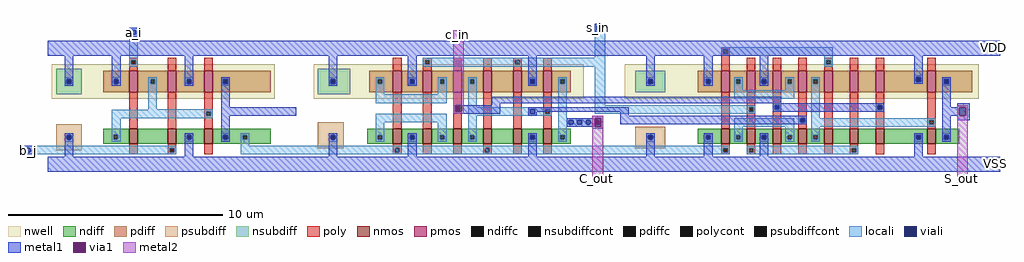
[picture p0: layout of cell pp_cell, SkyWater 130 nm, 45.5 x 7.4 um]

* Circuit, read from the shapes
.subckt pp_cell C_out S_out c_in s_in VDD VSS b_j a_i
XM1 n1 a_i n2 VSS sky130_fd_pr__nfet_01v8 w=0.7 l=0.4
XM2 VSS b_j n1 VSS sky130_fd_pr__nfet_01v8 w=0.7 l=0.4
XM3 carry1_0/A n2 VSS VSS sky130_fd_pr__nfet_01v8 w=0.7 l=0.4
XM4 VSS carry1_0/A n3 VSS sky130_fd_pr__nfet_01v8 w=0.7 l=0.4
XM5 n3 s_in VSS VSS sky130_fd_pr__nfet_01v8 w=0.7 l=0.4
XM6 carry1_0/Cob c_in n3 VSS sky130_fd_pr__nfet_01v8 w=0.7 l=0.4
XM7 n4 carry1_0/A carry1_0/Cob VSS sky130_fd_pr__nfet_01v8 w=0.7 l=0.4
XM8 VSS s_in n4 VSS sky130_fd_pr__nfet_01v8 w=0.7 l=0.4
XM9 C_out carry1_0/Cob VSS VSS sky130_fd_pr__nfet_01v8 w=0.7 l=0.4
XM10 n5 carry1_0/A VSS VSS sky130_fd_pr__nfet_01v8 w=0.7 l=0.4
XM11 VSS s_in n5 VSS sky130_fd_pr__nfet_01v8 w=0.7 l=0.4
XM12 n5 c_in VSS VSS sky130_fd_pr__nfet_01v8 w=0.7 l=0.4
XM13 n6 carry1_0/Cob n5 VSS sky130_fd_pr__nfet_01v8 w=0.7 l=0.4
XM14 n7 carry1_0/A n6 VSS sky130_fd_pr__nfet_01v8 w=0.7 l=0.4
XM15 n8 s_in n7 VSS sky130_fd_pr__nfet_01v8 w=0.7 l=0.4
XM16 VSS c_in n8 VSS sky130_fd_pr__nfet_01v8 w=0.7 l=0.4
XM17 S_out n6 VSS VSS sky130_fd_pr__nfet_01v8 w=0.7 l=0.4
XM18 n2 a_i VDD VDD sky130_fd_pr__pfet_01v8 w=1 l=0.4
XM19 VDD b_j n2 VDD sky130_fd_pr__pfet_01v8 w=1 l=0.4
XM20 carry1_0/A n2 VDD VDD sky130_fd_pr__pfet_01v8 w=1 l=0.4
XM21 VDD carry1_0/A n9 VDD sky130_fd_pr__pfet_01v8 w=1 l=0.4
XM22 n9 s_in VDD VDD sky130_fd_pr__pfet_01v8 w=1 l=0.4
XM23 carry1_0/Cob c_in n9 VDD sky130_fd_pr__pfet_01v8 w=1 l=0.4
XM24 n10 carry1_0/A carry1_0/Cob VDD sky130_fd_pr__pfet_01v8 w=1 l=0.4
XM25 VDD s_in n10 VDD sky130_fd_pr__pfet_01v8 w=1 l=0.4
XM26 C_out carry1_0/Cob VDD VDD sky130_fd_pr__pfet_01v8 w=1 l=0.4
XM27 n11 carry1_0/A VDD VDD sky130_fd_pr__pfet_01v8 w=1 l=0.4
XM28 VDD s_in n11 VDD sky130_fd_pr__pfet_01v8 w=1 l=0.4
XM29 n11 c_in VDD VDD sky130_fd_pr__pfet_01v8 w=1 l=0.4
XM30 n6 carry1_0/Cob n11 VDD sky130_fd_pr__pfet_01v8 w=1 l=0.4
XM31 n12 carry1_0/A n6 VDD sky130_fd_pr__pfet_01v8 w=1 l=0.4
XM32 n13 s_in n12 VDD sky130_fd_pr__pfet_01v8 w=1 l=0.4
XM33 VDD c_in n13 VDD sky130_fd_pr__pfet_01v8 w=1 l=0.4
XM34 S_out n6 VDD VDD sky130_fd_pr__pfet_01v8 w=1 l=0.4
.ends

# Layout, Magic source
magic
tech sky130A
<< ndiffc >>
rect 40 -190 60 -170
<< polycont >>
rect -480 160 -460 180
rect 1030 -60 1050 -40
rect 2400 -60 2420 -40
rect 2640 -110 2660 -90
rect -300 -250 -280 -230
rect 2280 -250 2300 -230
<< locali >>
rect 1680 340 1730 350
rect -490 320 -450 330
rect -490 300 -480 320
rect -460 300 -450 320
rect -490 180 -450 300
rect 1680 320 1690 340
rect 1710 320 1730 340
rect 1680 190 1730 320
rect -490 160 -480 180
rect -460 160 -450 180
rect -490 150 -450 160
rect 1310 150 1730 190
rect 1680 -30 1730 150
rect 1020 -40 1060 -30
rect 1020 -60 1030 -40
rect 1050 -60 1060 -40
rect 1680 -40 2430 -30
rect 1020 -70 1060 -60
rect 1680 -60 2400 -40
rect 2420 -60 2430 -40
rect 1680 -70 2430 -60
rect 2630 -90 2670 -80
rect 2630 -110 2640 -90
rect 2660 -110 2670 -90
rect 2630 -120 2670 -110
rect 30 -170 70 -160
rect 30 -190 40 -170
rect 60 -190 70 -170
rect 30 -220 70 -190
rect -980 -230 -270 -220
rect -980 -250 -970 -230
rect -950 -250 -300 -230
rect -280 -250 -270 -230
rect -980 -260 -270 -250
rect 30 -260 780 -220
rect 1160 -230 2310 -220
rect 1160 -250 2280 -230
rect 2300 -250 2310 -230
rect 1160 -260 2310 -250
<< viali >>
rect -480 300 -460 320
rect 1690 320 1710 340
rect 1030 -60 1050 -40
rect 1380 -70 1400 -50
rect 2640 -110 2660 -90
rect -970 -250 -950 -230
<< metal1 >>
rect 1680 340 1730 350
rect -490 320 -450 330
rect -490 300 -480 320
rect -460 300 -450 320
rect 1680 320 1690 340
rect 1710 320 1730 340
rect 1680 310 1730 320
rect -490 290 -450 300
rect 220 200 400 270
rect 1670 200 1850 270
rect 3170 200 3570 270
rect 1200 -20 2550 10
rect 1200 -30 1240 -20
rect 1020 -60 1030 -30
rect 1060 -60 1240 -30
rect 1020 -70 1240 -60
rect 1370 -50 1840 -40
rect 1370 -70 1380 -50
rect 1400 -60 1840 -50
rect 2510 -60 2550 -20
rect 3370 -40 3430 -20
rect 1400 -70 1410 -60
rect 1370 -80 1410 -70
rect 1800 -80 1840 -60
rect 3370 -80 3380 -40
rect 3410 -80 3430 -40
rect 1800 -90 2670 -80
rect 1800 -110 2640 -90
rect 2660 -110 2670 -90
rect 3370 -100 3430 -80
rect 1800 -120 2670 -110
rect -980 -230 -940 -220
rect -980 -250 -970 -230
rect -950 -250 -940 -230
rect -980 -260 -940 -250
rect 220 -340 400 -270
rect 1670 -340 1850 -270
rect 3320 -340 3570 -270
<< via1 >>
rect 1030 -40 1060 -30
rect 1030 -60 1050 -40
rect 1050 -60 1060 -40
rect 3380 -80 3410 -40
rect 1680 -130 1710 -90
<< metal2 >>
rect 1020 -30 1070 320
rect 1020 -60 1030 -30
rect 1060 -60 1070 -30
rect 1020 -70 1070 -60
rect 3370 -40 3420 -30
rect 3370 -80 3380 -40
rect 3410 -80 3420 -40
rect 1670 -90 1720 -80
rect 1670 -130 1680 -90
rect 1710 -130 1720 -90
rect 1670 -390 1720 -130
rect 3370 -390 3420 -80
use carry1  carry1_0
transform 1 0 -960 0 1 -30
box 1330 -310 2700 300
use pp_and2  pp_and2_0
transform 1 0 -570 0 1 -30
box -300 -310 860 300
use sum_backup  sum_backup_0
transform 1 0 -840 0 1 -30
box 2660 -310 4320 300
<< labels >>
rlabel metal2 1680 -380 1700 -360 1 C_out
port 1 n
rlabel metal2 3380 -380 3400 -360 1 S_out
port 2 n
rlabel metal2 1030 290 1050 310 1 c_in
port 5 n
rlabel viali 1690 320 1710 340 1 s_in
port 6 n
rlabel metal1 3530 230 3550 250 1 VDD
port 7 n
rlabel metal1 3540 -310 3560 -290 1 VSS
port 8 n
rlabel viali -970 -250 -950 -230 1 b_j
port 9 n
rlabel viali -480 300 -460 320 1 a_i
port 10 n
<< end >>

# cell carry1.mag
magic
tech sky130A
<< nwell >>
rect 1330 30 2590 190
<< nmos >>
rect 1700 -180 1740 -110
rect 1840 -180 1880 -110
rect 1980 -180 2020 -110
rect 2120 -180 2160 -110
rect 2260 -180 2300 -110
rect 2400 -180 2440 -110
<< pmos >>
rect 1700 60 1740 160
rect 1840 60 1880 160
rect 1980 60 2020 160
rect 2120 60 2160 160
rect 2260 60 2300 160
rect 2400 60 2440 160
<< ndiff >>
rect 1580 -140 1700 -110
rect 1580 -160 1630 -140
rect 1650 -160 1700 -140
rect 1580 -180 1700 -160
rect 1740 -140 1840 -110
rect 1740 -160 1780 -140
rect 1800 -160 1840 -140
rect 1740 -180 1840 -160
rect 1880 -140 1980 -110
rect 1880 -160 1920 -140
rect 1940 -160 1980 -140
rect 1880 -180 1980 -160
rect 2020 -140 2120 -110
rect 2020 -160 2060 -140
rect 2080 -160 2120 -140
rect 2020 -180 2120 -160
rect 2160 -180 2260 -110
rect 2300 -140 2400 -110
rect 2300 -160 2340 -140
rect 2360 -160 2400 -140
rect 2300 -180 2400 -160
rect 2440 -140 2530 -110
rect 2440 -160 2480 -140
rect 2500 -160 2530 -140
rect 2440 -180 2530 -160
<< pdiff >>
rect 1590 120 1700 160
rect 1590 100 1630 120
rect 1650 100 1700 120
rect 1590 60 1700 100
rect 1740 120 1840 160
rect 1740 100 1780 120
rect 1800 100 1840 120
rect 1740 60 1840 100
rect 1880 120 1980 160
rect 1880 100 1920 120
rect 1940 100 1980 120
rect 1880 60 1980 100
rect 2020 120 2120 160
rect 2020 100 2060 120
rect 2080 100 2120 120
rect 2020 60 2120 100
rect 2160 60 2260 160
rect 2300 120 2400 160
rect 2300 100 2340 120
rect 2360 100 2400 120
rect 2300 60 2400 100
rect 2440 120 2530 160
rect 2440 100 2480 120
rect 2500 100 2530 120
rect 2440 60 2530 100
<< ndiffc >>
rect 1630 -160 1650 -140
rect 1780 -160 1800 -140
rect 1920 -160 1940 -140
rect 2060 -160 2080 -140
rect 2340 -160 2360 -140
rect 2480 -160 2500 -140
<< pdiffc >>
rect 1630 100 1650 120
rect 1780 100 1800 120
rect 1920 100 1940 120
rect 2060 100 2080 120
rect 2340 100 2360 120
rect 2480 100 2500 120
<< psubdiff >>
rect 1350 -140 1470 -80
rect 1350 -160 1410 -140
rect 1430 -160 1470 -140
rect 1350 -200 1470 -160
<< nsubdiff >>
rect 1350 120 1500 170
rect 1350 100 1410 120
rect 1430 100 1500 120
rect 1350 50 1500 100
<< psubdiffcont >>
rect 1410 -160 1430 -140
<< nsubdiffcont >>
rect 1410 100 1430 120
<< poly >>
rect 1700 160 1740 220
rect 1840 210 1880 220
rect 1840 190 1850 210
rect 1870 190 1880 210
rect 1840 160 1880 190
rect 1980 160 2020 220
rect 2120 160 2160 220
rect 2260 210 2300 220
rect 2260 190 2270 210
rect 2290 190 2300 210
rect 2260 160 2300 190
rect 2400 160 2440 220
rect 1700 -110 1740 60
rect 1840 -110 1880 60
rect 1980 -110 2020 60
rect 2120 -110 2160 60
rect 2260 -110 2300 60
rect 2400 -20 2440 60
rect 2400 -40 2410 -20
rect 2430 -40 2440 -20
rect 2400 -110 2440 -40
rect 1700 -200 1740 -180
rect 1700 -220 1710 -200
rect 1730 -220 1740 -200
rect 1700 -230 1740 -220
rect 1840 -230 1880 -180
rect 1980 -230 2020 -180
rect 2120 -200 2160 -180
rect 2120 -220 2130 -200
rect 2150 -220 2160 -200
rect 2120 -230 2160 -220
rect 2260 -230 2300 -180
rect 2400 -230 2440 -180
<< polycont >>
rect 1850 190 1870 210
rect 2270 190 2290 210
rect 2410 -40 2430 -20
rect 1710 -220 1730 -200
rect 2130 -220 2150 -200
<< locali >>
rect 1840 210 2300 220
rect 1840 190 1850 210
rect 1870 190 2270 210
rect 2290 190 2300 210
rect 1840 180 2300 190
rect 1400 120 1440 130
rect 1400 100 1410 120
rect 1430 100 1440 120
rect 1400 90 1440 100
rect 1620 120 1660 130
rect 1620 100 1630 120
rect 1650 100 1660 120
rect 1620 50 1660 100
rect 1770 120 1810 130
rect 1770 100 1780 120
rect 1800 100 1810 120
rect 1770 90 1810 100
rect 1910 120 1950 130
rect 1910 100 1920 120
rect 1940 100 1950 120
rect 1910 50 1950 100
rect 1620 10 1950 50
rect 2050 120 2090 130
rect 2050 100 2060 120
rect 2080 100 2090 120
rect 2050 -10 2090 100
rect 2330 120 2370 130
rect 2330 100 2340 120
rect 2360 100 2370 120
rect 2330 90 2370 100
rect 2470 120 2510 130
rect 2470 100 2480 120
rect 2500 100 2510 120
rect 2050 -20 2440 -10
rect 2050 -40 2340 -20
rect 2360 -40 2410 -20
rect 2430 -40 2440 -20
rect 1620 -80 1950 -40
rect 1400 -140 1440 -130
rect 1400 -160 1410 -140
rect 1430 -160 1440 -140
rect 1400 -170 1440 -160
rect 1620 -140 1660 -80
rect 1620 -160 1630 -140
rect 1650 -160 1660 -140
rect 1620 -170 1660 -160
rect 1770 -140 1810 -130
rect 1770 -160 1780 -140
rect 1800 -160 1810 -140
rect 1770 -170 1810 -160
rect 1910 -140 1950 -80
rect 1910 -160 1920 -140
rect 1940 -160 1950 -140
rect 1910 -170 1950 -160
rect 2050 -50 2440 -40
rect 2050 -140 2090 -50
rect 2470 -60 2510 100
rect 2470 -70 2670 -60
rect 2470 -90 2520 -70
rect 2540 -90 2560 -70
rect 2580 -90 2600 -70
rect 2620 -90 2640 -70
rect 2660 -90 2670 -70
rect 2470 -100 2670 -90
rect 2050 -160 2060 -140
rect 2080 -160 2090 -140
rect 2050 -170 2090 -160
rect 2330 -140 2370 -130
rect 2330 -160 2340 -140
rect 2360 -160 2370 -140
rect 2330 -170 2370 -160
rect 2470 -140 2510 -100
rect 2470 -160 2480 -140
rect 2500 -160 2510 -140
rect 2470 -170 2510 -160
rect 1700 -200 2160 -190
rect 1700 -220 1710 -200
rect 1730 -220 2130 -200
rect 2150 -220 2160 -200
rect 1700 -230 2160 -220
<< viali >>
rect 1410 100 1430 120
rect 1780 100 1800 120
rect 2340 100 2360 120
rect 2340 -40 2360 -20
rect 1410 -160 1430 -140
rect 1780 -160 1800 -140
rect 2520 -90 2540 -70
rect 2560 -90 2580 -70
rect 2600 -90 2620 -70
rect 2640 -90 2660 -70
rect 2340 -160 2360 -140
<< metal1 >>
rect 1330 230 2700 300
rect 1400 120 1440 230
rect 1400 100 1410 120
rect 1430 100 1440 120
rect 1400 90 1440 100
rect 1770 120 1810 230
rect 1770 100 1780 120
rect 1800 100 1810 120
rect 1770 90 1810 100
rect 2330 120 2370 230
rect 2330 100 2340 120
rect 2360 100 2370 120
rect 2330 90 2370 100
rect 2330 -20 2370 -10
rect 2330 -40 2340 -20
rect 2360 -40 2370 -20
rect 2330 -50 2370 -40
rect 2630 -60 2680 -50
rect 2510 -70 2680 -60
rect 2510 -90 2520 -70
rect 2540 -90 2560 -70
rect 2580 -90 2600 -70
rect 2620 -90 2640 -70
rect 2660 -90 2680 -70
rect 2510 -100 2680 -90
rect 2630 -110 2680 -100
rect 1400 -140 1440 -130
rect 1400 -160 1410 -140
rect 1430 -160 1440 -140
rect 1400 -240 1440 -160
rect 1770 -140 1810 -130
rect 1770 -160 1780 -140
rect 1800 -160 1810 -140
rect 1770 -240 1810 -160
rect 2330 -140 2370 -130
rect 2330 -160 2340 -140
rect 2360 -160 2370 -140
rect 2330 -240 2370 -160
rect 1330 -310 2670 -240
<< labels >>
flabel metal1 2660 260 2680 280 0 FreeSans 64 0 0 0 VDD
port 7 nsew
flabel viali 2640 -90 2660 -70 0 FreeSans 64 0 0 0 Cout
port 6 nsew
flabel viali 2340 -40 2360 -20 0 FreeSans 64 0 0 0 Cob
port 4 nsew
flabel polycont 1710 -220 1730 -200 0 FreeSans 80 0 0 0 A
port 1 nsew
flabel metal1 2640 -280 2660 -260 0 FreeSans 64 0 0 0 VSS
port 5 nsew
flabel poly 1990 -30 2010 -10 0 FreeSans 64 0 0 0 Ci
port 8 nsew
flabel polycont 1850 190 1870 210 0 FreeSans 64 0 0 0 B
port 9 nsew
<< end >>

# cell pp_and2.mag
magic
tech sky130A
<< nwell >>
rect -280 30 760 190
<< nmos >>
rect 80 -180 120 -110
rect 260 -180 300 -110
rect 430 -180 470 -110
<< pmos >>
rect 80 60 120 160
rect 260 60 300 160
rect 430 60 470 160
<< ndiff >>
rect -40 -138 80 -110
rect -40 -158 8 -138
rect 28 -158 80 -138
rect -40 -180 80 -158
rect 120 -180 260 -110
rect 300 -140 430 -110
rect 300 -160 350 -140
rect 370 -160 430 -140
rect 300 -180 430 -160
rect 470 -140 740 -110
rect 470 -160 520 -140
rect 540 -160 740 -140
rect 470 -180 740 -160
<< pdiff >>
rect -40 120 80 160
rect -40 100 10 120
rect 30 100 80 120
rect -40 60 80 100
rect 120 120 260 160
rect 120 100 180 120
rect 200 100 260 120
rect 120 60 260 100
rect 300 120 430 160
rect 300 100 350 120
rect 370 100 430 120
rect 300 60 430 100
rect 470 120 740 160
rect 470 100 520 120
rect 540 100 740 120
rect 470 60 740 100
<< ndiffc >>
rect 8 -158 28 -138
rect 350 -160 370 -140
rect 520 -160 540 -140
<< pdiffc >>
rect 10 100 30 120
rect 180 100 200 120
rect 350 100 370 120
rect 520 100 540 120
<< psubdiff >>
rect -260 -140 -140 -90
rect -260 -160 -210 -140
rect -190 -160 -140 -140
rect -260 -210 -140 -160
<< nsubdiff >>
rect -260 120 -140 170
rect -260 100 -210 120
rect -190 100 -140 120
rect -260 50 -140 100
<< psubdiffcont >>
rect -210 -160 -190 -140
<< nsubdiffcont >>
rect -210 100 -190 120
<< poly >>
rect 80 160 120 220
rect 260 160 300 220
rect 430 160 470 220
rect 80 -110 120 60
rect 260 -110 300 60
rect 430 -30 470 60
rect 430 -50 440 -30
rect 460 -50 470 -30
rect 430 -110 470 -50
rect 80 -230 120 -180
rect 260 -230 300 -180
rect 430 -230 470 -180
<< polycont >>
rect 440 -50 460 -30
<< locali >>
rect -220 120 -180 130
rect -220 100 -210 120
rect -190 100 -180 120
rect -220 90 -180 100
rect 0 120 40 130
rect 0 100 10 120
rect 30 100 40 120
rect 0 90 40 100
rect 170 120 210 130
rect 170 100 180 120
rect 200 100 210 120
rect 170 -20 210 100
rect 340 120 380 130
rect 340 100 350 120
rect 370 100 380 120
rect 340 90 380 100
rect 510 120 550 130
rect 510 100 520 120
rect 540 100 550 120
rect 510 90 550 100
rect 170 -21 470 -20
rect 0 -22 470 -21
rect -1 -30 470 -22
rect -1 -50 440 -30
rect 460 -50 470 -30
rect -1 -60 470 -50
rect -220 -140 -180 -130
rect -220 -160 -210 -140
rect -190 -160 -180 -140
rect -220 -170 -180 -160
rect -1 -138 40 -60
rect -1 -158 8 -138
rect 28 -158 40 -138
rect -1 -165 40 -158
rect 0 -170 40 -165
rect 340 -140 380 -130
rect 340 -160 350 -140
rect 370 -160 380 -140
rect 340 -170 380 -160
rect 510 -140 550 -130
rect 510 -160 520 -140
rect 540 -160 550 -140
rect 510 -170 550 -160
<< viali >>
rect -210 100 -190 120
rect 10 100 30 120
rect 350 100 370 120
rect 520 100 540 120
rect -210 -160 -190 -140
rect 350 -160 370 -140
rect 520 -160 540 -140
<< metal1 >>
rect -300 230 860 300
rect -220 120 -180 230
rect -220 100 -210 120
rect -190 100 -180 120
rect -220 90 -180 100
rect 0 120 40 230
rect 0 100 10 120
rect 30 100 40 120
rect 0 90 40 100
rect 340 120 380 230
rect 340 100 350 120
rect 370 100 380 120
rect 340 90 380 100
rect 510 120 550 130
rect 510 100 520 120
rect 540 100 550 120
rect 510 -10 550 100
rect 510 -50 860 -10
rect -220 -140 -180 -130
rect -220 -160 -210 -140
rect -190 -160 -180 -140
rect -220 -240 -180 -160
rect 340 -140 380 -130
rect 340 -160 350 -140
rect 370 -160 380 -140
rect 340 -240 380 -160
rect 510 -140 550 -50
rect 510 -160 520 -140
rect 540 -160 550 -140
rect 510 -170 550 -160
rect -300 -310 860 -240
<< labels >>
flabel metal1 810 250 840 280 0 FreeSans 80 0 0 0 VDD
port 1 nsew
flabel metal1 810 -290 840 -260 0 FreeSans 80 0 0 0 VSS
port 2 nsew
flabel poly 90 -220 110 -200 0 FreeSans 80 0 0 0 a
port 3 nsew
flabel poly 270 -220 290 -200 0 FreeSans 80 0 0 0 b
port 4 nsew
flabel metal1 830 -40 850 -20 0 FreeSans 80 0 0 0 pp
port 5 nsew
<< end >>

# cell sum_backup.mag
magic
tech sky130A
<< nwell >>
rect 2660 30 4310 190
<< nmos >>
rect 3110 -180 3150 -110
rect 3230 -180 3270 -110
rect 3350 -180 3390 -110
rect 3470 -180 3510 -110
rect 3590 -180 3630 -110
rect 3710 -180 3750 -110
rect 3830 -180 3870 -110
rect 4070 -180 4110 -110
<< pmos >>
rect 3110 60 3150 160
rect 3230 60 3270 160
rect 3350 60 3390 160
rect 3470 60 3510 160
rect 3590 60 3630 160
rect 3710 60 3750 160
rect 3830 60 3870 160
rect 4070 60 4110 160
<< ndiff >>
rect 3000 -140 3110 -110
rect 3000 -160 3040 -140
rect 3060 -160 3110 -140
rect 3000 -180 3110 -160
rect 3150 -140 3230 -110
rect 3150 -160 3180 -140
rect 3200 -160 3230 -140
rect 3150 -180 3230 -160
rect 3270 -140 3350 -110
rect 3270 -160 3300 -140
rect 3320 -160 3350 -140
rect 3270 -180 3350 -160
rect 3390 -140 3470 -110
rect 3390 -160 3420 -140
rect 3440 -160 3470 -140
rect 3390 -180 3470 -160
rect 3510 -140 3590 -110
rect 3510 -160 3540 -140
rect 3560 -160 3590 -140
rect 3510 -180 3590 -160
rect 3630 -180 3710 -110
rect 3750 -180 3830 -110
rect 3870 -140 4070 -110
rect 3870 -160 4020 -140
rect 4040 -160 4070 -140
rect 3870 -180 4070 -160
rect 4110 -140 4220 -110
rect 4110 -160 4150 -140
rect 4170 -160 4220 -140
rect 4110 -180 4220 -160
<< pdiff >>
rect 3000 120 3110 160
rect 3000 100 3040 120
rect 3060 100 3110 120
rect 3000 60 3110 100
rect 3150 120 3230 160
rect 3150 100 3180 120
rect 3200 100 3230 120
rect 3150 60 3230 100
rect 3270 120 3350 160
rect 3270 100 3300 120
rect 3320 100 3350 120
rect 3270 60 3350 100
rect 3390 120 3470 160
rect 3390 100 3420 120
rect 3440 100 3470 120
rect 3390 60 3470 100
rect 3510 120 3590 160
rect 3510 100 3540 120
rect 3560 100 3590 120
rect 3510 60 3590 100
rect 3630 60 3710 160
rect 3750 60 3830 160
rect 3870 130 4070 160
rect 3870 110 4020 130
rect 4040 110 4070 130
rect 3870 60 4070 110
rect 4110 120 4280 160
rect 4110 100 4150 120
rect 4170 100 4280 120
rect 4110 60 4280 100
<< ndiffc >>
rect 3040 -160 3060 -140
rect 3180 -160 3200 -140
rect 3300 -160 3320 -140
rect 3420 -160 3440 -140
rect 3540 -160 3560 -140
rect 4020 -160 4040 -140
rect 4150 -160 4170 -140
<< pdiffc >>
rect 3040 100 3060 120
rect 3180 100 3200 120
rect 3300 100 3320 120
rect 3420 100 3440 120
rect 3540 100 3560 120
rect 4020 110 4040 130
rect 4150 100 4170 120
<< psubdiff >>
rect 2710 -140 2850 -100
rect 2710 -160 2770 -140
rect 2790 -160 2850 -140
rect 2710 -200 2850 -160
<< nsubdiff >>
rect 2710 120 2850 160
rect 2710 100 2770 120
rect 2790 100 2850 120
rect 2710 60 2850 100
<< psubdiffcont >>
rect 2770 -160 2790 -140
<< nsubdiffcont >>
rect 2770 100 2790 120
<< poly >>
rect 3110 260 3150 270
rect 3110 240 3120 260
rect 3140 240 3150 260
rect 3110 160 3150 240
rect 3230 160 3270 220
rect 3350 160 3390 220
rect 3470 160 3510 220
rect 3590 210 3630 220
rect 3590 190 3600 210
rect 3620 190 3630 210
rect 3590 160 3630 190
rect 3710 160 3750 220
rect 3830 160 3870 220
rect 4070 160 4110 220
rect 3110 -110 3150 60
rect 3230 -110 3270 60
rect 3350 0 3390 60
rect 3350 -20 3360 0
rect 3380 -20 3390 0
rect 3350 -110 3390 -20
rect 3470 -110 3510 60
rect 3590 -110 3630 60
rect 3710 -110 3750 60
rect 3830 0 3870 60
rect 3830 -20 3840 0
rect 3860 -20 3870 0
rect 3830 -110 3870 -20
rect 4070 -70 4110 60
rect 4070 -90 4080 -70
rect 4100 -90 4110 -70
rect 4070 -110 4110 -90
rect 3110 -230 3150 -180
rect 3230 -200 3270 -180
rect 3230 -220 3240 -200
rect 3260 -220 3270 -200
rect 3230 -230 3270 -220
rect 3350 -230 3390 -180
rect 3470 -230 3510 -180
rect 3590 -230 3630 -180
rect 3710 -200 3750 -180
rect 3710 -220 3720 -200
rect 3740 -220 3750 -200
rect 3710 -230 3750 -220
rect 3830 -230 3870 -180
rect 4070 -230 4110 -180
<< polycont >>
rect 3120 240 3140 260
rect 3600 190 3620 210
rect 3360 -20 3380 0
rect 3840 -20 3860 0
rect 4080 -90 4100 -70
rect 3240 -220 3260 -200
rect 3720 -220 3740 -200
<< locali >>
rect 3110 260 3630 270
rect 3110 240 3120 260
rect 3140 240 3630 260
rect 3110 230 3630 240
rect 3590 210 3630 230
rect 3590 190 3600 210
rect 3620 190 3630 210
rect 3590 180 3630 190
rect 4010 130 4050 140
rect 2760 120 2800 130
rect 2760 100 2770 120
rect 2790 100 2800 120
rect 2760 90 2800 100
rect 3030 120 3070 130
rect 3030 100 3040 120
rect 3060 100 3070 120
rect 3030 90 3070 100
rect 3170 120 3210 130
rect 3170 100 3180 120
rect 3200 100 3210 120
rect 3170 70 3210 100
rect 3290 120 3330 130
rect 3290 100 3300 120
rect 3320 100 3330 120
rect 3290 90 3330 100
rect 3410 120 3450 130
rect 3410 100 3420 120
rect 3440 100 3450 120
rect 3410 70 3450 100
rect 3170 30 3450 70
rect 3530 120 3570 130
rect 3530 100 3540 120
rect 3560 100 3570 120
rect 4010 110 4020 130
rect 4040 110 4050 130
rect 4010 100 4050 110
rect 4140 120 4180 130
rect 4140 100 4150 120
rect 4170 100 4180 120
rect 3350 0 3390 10
rect 3350 -20 3360 0
rect 3380 -20 3390 0
rect 3350 -30 3390 -20
rect 3530 -60 3570 100
rect 4140 90 4180 100
rect 3830 0 3870 10
rect 3830 -20 3840 0
rect 3860 -20 3870 0
rect 3830 -30 3870 -20
rect 3170 -100 3450 -60
rect 2760 -140 2800 -130
rect 2760 -160 2770 -140
rect 2790 -160 2800 -140
rect 2760 -170 2800 -160
rect 3030 -140 3070 -130
rect 3030 -160 3040 -140
rect 3060 -160 3070 -140
rect 3030 -170 3070 -160
rect 3170 -140 3210 -100
rect 3170 -160 3180 -140
rect 3200 -160 3210 -140
rect 3170 -170 3210 -160
rect 3290 -140 3330 -130
rect 3290 -160 3300 -140
rect 3320 -160 3330 -140
rect 3290 -170 3330 -160
rect 3410 -140 3450 -100
rect 3410 -160 3420 -140
rect 3440 -160 3450 -140
rect 3410 -170 3450 -160
rect 3530 -70 4110 -60
rect 3530 -90 4080 -70
rect 4100 -90 4110 -70
rect 3530 -100 4110 -90
rect 3530 -140 3570 -100
rect 3530 -160 3540 -140
rect 3560 -160 3570 -140
rect 3530 -170 3570 -160
rect 4010 -140 4050 -130
rect 4010 -160 4020 -140
rect 4040 -160 4050 -140
rect 4010 -170 4050 -160
rect 4140 -140 4180 -130
rect 4140 -160 4150 -140
rect 4170 -160 4180 -140
rect 4140 -170 4180 -160
rect 3230 -200 3750 -190
rect 3230 -220 3240 -200
rect 3260 -220 3720 -200
rect 3740 -220 3750 -200
rect 3230 -230 3750 -220
<< viali >>
rect 2770 100 2790 120
rect 3040 100 3060 120
rect 3300 100 3320 120
rect 4020 110 4040 130
rect 4150 100 4170 120
rect 3360 -20 3380 0
rect 3840 -20 3860 0
rect 2770 -160 2790 -140
rect 3040 -160 3060 -140
rect 3300 -160 3320 -140
rect 4020 -160 4040 -140
rect 4150 -160 4170 -140
<< metal1 >>
rect 2660 230 4320 300
rect 2760 120 2800 230
rect 2760 100 2770 120
rect 2790 100 2800 120
rect 2760 90 2800 100
rect 3030 120 3070 230
rect 3030 100 3040 120
rect 3060 100 3070 120
rect 3030 90 3070 100
rect 3290 120 3330 230
rect 3290 100 3300 120
rect 3320 100 3330 120
rect 4010 130 4050 230
rect 4010 110 4020 130
rect 4040 110 4050 130
rect 4010 100 4050 110
rect 4140 120 4180 130
rect 4140 100 4150 120
rect 4170 100 4180 120
rect 3290 90 3330 100
rect 3350 0 3870 10
rect 3350 -20 3360 0
rect 3380 -20 3840 0
rect 3860 -20 3870 0
rect 3350 -30 3870 -20
rect 4140 -10 4180 100
rect 4140 -50 4250 -10
rect 2760 -140 2800 -130
rect 2760 -160 2770 -140
rect 2790 -160 2800 -140
rect 2760 -240 2800 -160
rect 3030 -140 3070 -130
rect 3030 -160 3040 -140
rect 3060 -160 3070 -140
rect 3030 -240 3070 -160
rect 3290 -140 3330 -130
rect 3290 -160 3300 -140
rect 3320 -160 3330 -140
rect 3290 -240 3330 -160
rect 4010 -140 4050 -130
rect 4010 -160 4020 -140
rect 4040 -160 4050 -140
rect 4010 -240 4050 -160
rect 4140 -140 4180 -50
rect 4140 -160 4150 -140
rect 4170 -160 4180 -140
rect 4140 -170 4180 -160
rect 2660 -310 4320 -240
<< labels >>
rlabel poly 3120 -30 3140 -10 1 A
port 1 n
rlabel poly 3240 -30 3260 -10 1 B
port 2 n
rlabel metal1 3360 -20 3380 0 1 Ci
port 3 n
rlabel poly 3480 -80 3500 -60 1 Cob
port 4 n
rlabel metal1 4220 -40 4240 -20 1 S_out
port 5 n
rlabel metal1 4220 250 4240 270 1 VDD
port 6 n
rlabel metal1 4220 -290 4240 -270 1 VSS
port 7 n
<< end >>
